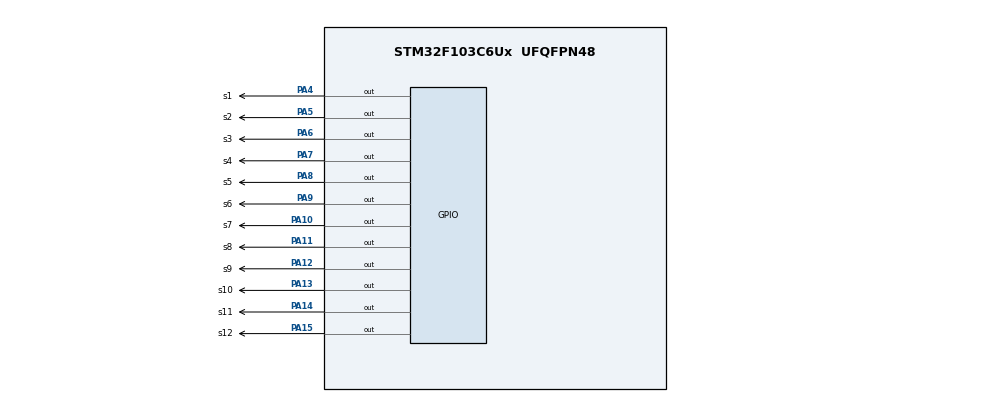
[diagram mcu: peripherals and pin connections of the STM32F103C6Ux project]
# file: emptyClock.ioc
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Mcu.Family=STM32F1
Mcu.Name=STM32F103C6Ux
Mcu.Package=UFQFPN48
NVIC.PriorityGroup=NVIC_PRIORITYGROUP_4
PA10.GPIO_Label=s7
PA10.Signal=GPIO_Output
PA11.GPIO_Label=s8
PA11.Signal=GPIO_Output
PA12.GPIO_Label=s9
PA12.Signal=GPIO_Output
PA13.GPIO_Label=s10
PA13.Signal=GPIO_Output
PA14.GPIO_Label=s11
PA14.Signal=GPIO_Output
PA15.GPIO_Label=s12
PA15.Signal=GPIO_Output
PA4.GPIO_Label=s1
PA4.Signal=GPIO_Output
PA5.GPIO_Label=s2
PA5.Signal=GPIO_Output
PA6.GPIO_Label=s3
PA6.Signal=GPIO_Output
PA7.GPIO_Label=s4
PA7.Signal=GPIO_Output
PA8.GPIO_Label=s5
PA8.Signal=GPIO_Output
PA9.GPIO_Label=s6
PA9.Signal=GPIO_Output
ProjectManager.HeapSize=0x200
ProjectManager.StackSize=0x400
ProjectManager.TargetToolchain=STM32CubeIDE
RCC.APB1Freq_Value=8000000
RCC.APB2Freq_Value=8000000
VP_SYS_VS_ND.Mode=No_Debug
board=custom

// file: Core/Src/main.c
/* USER CODE BEGIN Header */
/**
  ******************************************************************************
  * @file           : main.c
  * @brief          : Main program body
  ******************************************************************************
  * @attention
  *
  * <h2><center>&copy; Copyright (c) 2022 STMicroelectronics.
  * All rights reserved.</center></h2>
  *
  * This software component is licensed by ST under BSD 3-Clause license,
  * the "License"; You may not use this file except in compliance with the
  * License. You may obtain a copy of the License at:
  *                        opensource.org/licenses/BSD-3-Clause
  *
  ******************************************************************************
  */
/* USER CODE END Header */
#include "main.h"

void SystemClock_Config(void);
static void MX_GPIO_Init(void);

/* USER CODE BEGIN 0 */
void clearAllClock();
/* USER CODE END 0 */

int main(void)
{

  /* MCU Configuration--------------------------------------------------------*/

  /* Reset of all peripherals, Initializes the Flash interface and the Systick. */
  HAL_Init();

  /* Configure the system clock */
  SystemClock_Config();

  /* Initialize all configured peripherals */
  MX_GPIO_Init();

  /* Infinite loop */
  /* USER CODE BEGIN WHILE */
  int temp = 0;
  while (1)
  {
    /* USER CODE END WHILE */

    /* USER CODE BEGIN 3 */
	  	  	  HAL_GPIO_WritePin(s1_GPIO_Port, s1_Pin, RESET);
	  	  	  HAL_GPIO_WritePin(s2_GPIO_Port, s2_Pin, RESET);
	  	  	  HAL_GPIO_WritePin(s3_GPIO_Port, s3_Pin, RESET);
	  	  	  HAL_GPIO_WritePin(s4_GPIO_Port, s4_Pin, RESET);
	  	  	  HAL_GPIO_WritePin(s5_GPIO_Port, s5_Pin, RESET);
	  	  	  HAL_GPIO_WritePin(s6_GPIO_Port, s6_Pin, RESET);
	  	  	  HAL_GPIO_WritePin(s7_GPIO_Port, s7_Pin, RESET);
	  	  	  HAL_GPIO_WritePin(s8_GPIO_Port, s8_Pin, RESET);
	  	  	  HAL_GPIO_WritePin(s9_GPIO_Port, s9_Pin, RESET);
	  	  	  HAL_GPIO_WritePin(s10_GPIO_Port, s10_Pin, RESET);
	  	  	  HAL_GPIO_WritePin(s11_GPIO_Port, s11_Pin, RESET);
	  	  	  HAL_GPIO_WritePin(s12_GPIO_Port, s12_Pin, RESET);
	  if (temp >=5) clearAllClock();
	  temp++;
	  HAL_Delay(1000);
  }
  /* USER CODE END 3 */
}

void SystemClock_Config(void)
{
  RCC_OscInitTypeDef RCC_OscInitStruct = {0};
  RCC_ClkInitTypeDef RCC_ClkInitStruct = {0};

  /** Initializes the RCC Oscillators according to the specified parameters
  * in the RCC_OscInitTypeDef structure.
  */
  RCC_OscInitStruct.OscillatorType = RCC_OSCILLATORTYPE_HSI;
  RCC_OscInitStruct.HSIState = RCC_HSI_ON;
  RCC_OscInitStruct.HSICalibrationValue = RCC_HSICALIBRATION_DEFAULT;
  RCC_OscInitStruct.PLL.PLLState = RCC_PLL_NONE;
  if (HAL_RCC_OscConfig(&RCC_OscInitStruct) != HAL_OK)
  {
    Error_Handler();
  }
  /** Initializes the CPU, AHB and APB buses clocks
  */
  RCC_ClkInitStruct.ClockType = RCC_CLOCKTYPE_HCLK|RCC_CLOCKTYPE_SYSCLK
                              |RCC_CLOCKTYPE_PCLK1|RCC_CLOCKTYPE_PCLK2;
  RCC_ClkInitStruct.SYSCLKSource = RCC_SYSCLKSOURCE_HSI;
  RCC_ClkInitStruct.AHBCLKDivider = RCC_SYSCLK_DIV1;
  RCC_ClkInitStruct.APB1CLKDivider = RCC_HCLK_DIV1;
  RCC_ClkInitStruct.APB2CLKDivider = RCC_HCLK_DIV1;

  if (HAL_RCC_ClockConfig(&RCC_ClkInitStruct, FLASH_LATENCY_0) != HAL_OK)
  {
    Error_Handler();
  }
}

static void MX_GPIO_Init(void)
{
  GPIO_InitTypeDef GPIO_InitStruct = {0};

  /* GPIO Ports Clock Enable */
  __HAL_RCC_GPIOA_CLK_ENABLE();

  /*Configure GPIO pin Output Level */
  HAL_GPIO_WritePin(GPIOA, s1_Pin|s2_Pin|s3_Pin|s4_Pin
                          |s5_Pin|s6_Pin|s7_Pin|s8_Pin
                          |s9_Pin|s10_Pin|s11_Pin|s12_Pin, GPIO_PIN_RESET);

  /*Configure GPIO pins : s1_Pin s2_Pin s3_Pin s4_Pin
                           s5_Pin s6_Pin s7_Pin s8_Pin
                           s9_Pin s10_Pin s11_Pin s12_Pin */
  GPIO_InitStruct.Pin = s1_Pin|s2_Pin|s3_Pin|s4_Pin
                          |s5_Pin|s6_Pin|s7_Pin|s8_Pin
                          |s9_Pin|s10_Pin|s11_Pin|s12_Pin;
  GPIO_InitStruct.Mode = GPIO_MODE_OUTPUT_PP;
  GPIO_InitStruct.Pull = GPIO_NOPULL;
  GPIO_InitStruct.Speed = GPIO_SPEED_FREQ_LOW;
  HAL_GPIO_Init(GPIOA, &GPIO_InitStruct);

}

/* USER CODE BEGIN 4 */
void clearAllClock(){
			  HAL_GPIO_WritePin(s1_GPIO_Port, s1_Pin, SET);
		  	  HAL_GPIO_WritePin(s2_GPIO_Port, s2_Pin, SET);
		  	  HAL_GPIO_WritePin(s3_GPIO_Port, s3_Pin, SET);
		  	  HAL_GPIO_WritePin(s4_GPIO_Port, s4_Pin, SET);
		  	  HAL_GPIO_WritePin(s5_GPIO_Port, s5_Pin, SET);
		  	  HAL_GPIO_WritePin(s6_GPIO_Port, s6_Pin, SET);
		  	  HAL_GPIO_WritePin(s7_GPIO_Port, s7_Pin, SET);
		  	  HAL_GPIO_WritePin(s8_GPIO_Port, s8_Pin, SET);
		  	  HAL_GPIO_WritePin(s9_GPIO_Port, s9_Pin, SET);
		  	  HAL_GPIO_WritePin(s10_GPIO_Port, s10_Pin, SET);
		  	  HAL_GPIO_WritePin(s11_GPIO_Port, s11_Pin, SET);
		  	  HAL_GPIO_WritePin(s12_GPIO_Port, s12_Pin, SET);
}
/* USER CODE END 4 */

void Error_Handler(void)
{
  __disable_irq();
  while (1)
  {
  }
}

/************************ (C) COPYRIGHT STMicroelectronics *****END OF FILE****/
